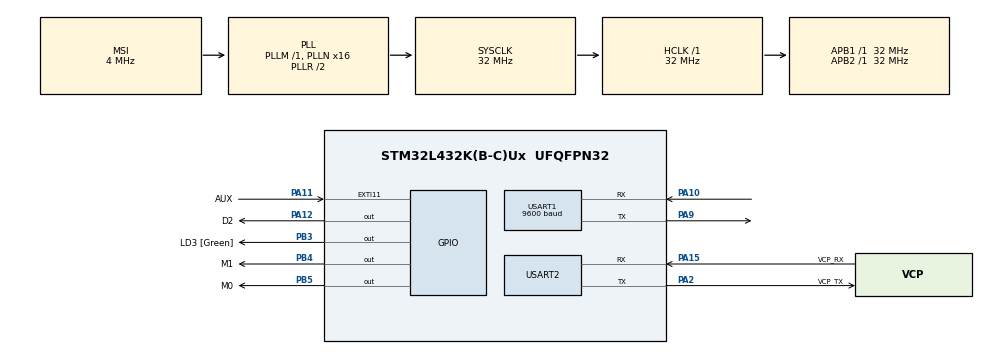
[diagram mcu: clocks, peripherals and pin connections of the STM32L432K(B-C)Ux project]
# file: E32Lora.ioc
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Mcu.Family=STM32L4
Mcu.Name=STM32L432K(B-C)Ux
Mcu.Package=UFQFPN32
NVIC.EXTI15_10_IRQn=true\:0\:0\:false\:false\:true\:true
NVIC.PriorityGroup=NVIC_PRIORITYGROUP_4
PA0.GPIO_Label=MCO [High speed clock in]
PA0.Mode=HSE-External-Clock-Source-for-LittleOrca
PA0.Signal=RCC_CK_IN
PA10.Mode=Asynchronous
PA10.Signal=USART1_RX
PA11.GPIO_Label=AUX
PA11.GPIO_ModeDefaultEXTI=GPIO_MODE_IT_FALLING
PA11.Signal=GPXTI11
PA12.GPIO_Label=D2
PA12.Signal=GPIO_Output
PA13\ (JTMS-SWDIO).GPIO_Label=SWDIO
PA13\ (JTMS-SWDIO).Mode=Serial_Wire
PA13\ (JTMS-SWDIO).Signal=SYS_JTMS-SWDIO
PA14\ (JTCK-SWCLK).GPIO_Label=SWCLK
PA14\ (JTCK-SWCLK).Mode=Serial_Wire
PA14\ (JTCK-SWCLK).Signal=SYS_JTCK-SWCLK
PA15\ (JTDI).GPIO_Label=VCP_RX
PA15\ (JTDI).Mode=Asynchronous
PA15\ (JTDI).Signal=USART2_RX
PA2.GPIO_Label=VCP_TX
PA2.Mode=Asynchronous
PA2.Signal=USART2_TX
PA9.Mode=Asynchronous
PA9.Signal=USART1_TX
PB3\ (JTDO-TRACESWO).GPIO_Label=LD3 [Green]
PB3\ (JTDO-TRACESWO).Signal=GPIO_Output
PB4\ (NJTRST).GPIO_Label=M1
PB4\ (NJTRST).Signal=GPIO_Output
PB5.GPIO_Label=M0
PB5.Signal=GPIO_Output
PC14-OSC32_IN\ (PC14).Mode=LSE-External-Oscillator
PC14-OSC32_IN\ (PC14).Signal=RCC_OSC32_IN
PC15-OSC32_OUT\ (PC15).Mode=LSE-External-Oscillator
PC15-OSC32_OUT\ (PC15).Signal=RCC_OSC32_OUT
ProjectManager.HeapSize=0x200
ProjectManager.StackSize=0x400
ProjectManager.TargetToolchain=Makefile
RCC.AHBFreq_Value=32000000
RCC.APB1Freq_Value=32000000
RCC.APB1TimFreq_Value=32000000
RCC.APB2Freq_Value=32000000
RCC.APB2TimFreq_Value=32000000
RCC.CortexFreq_Value=32000000
RCC.HCLKFreq_Value=32000000
RCC.HSE_VALUE=8000000
RCC.HSI16_VALUE=16000000
RCC.HSI48_VALUE=48000000
RCC.HSI_VALUE=16000000
RCC.MSI_VALUE=4000000
RCC.PLLMUL=RCC_PLLMUL_4
RCC.PLLN=16
RCC.SYSCLKFreq_VALUE=32000000
RCC.SYSCLKSource=RCC_SYSCLKSOURCE_PLLCLK
RCC.VCOOutputFreq_Value=64000000
USART1.BaudRate=9600
USART1.VirtualMode-Asynchronous=VM_ASYNC
USART2.VirtualMode-Asynchronous=VM_ASYNC
board=NUCLEO-L432KC

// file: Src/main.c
/* USER CODE BEGIN Header */
/**
  ******************************************************************************
  * @file           : main.c
  * @brief          : Main program body
  ******************************************************************************
  ** This notice applies to any and all portions of this file
  * that are not between comment pairs USER CODE BEGIN and
  * USER CODE END. Other portions of this file, whether
  * inserted by the user or by software development tools
  * are owned by their respective copyright owners.
  *
  * COPYRIGHT(c) 2018 STMicroelectronics
  *
  * Redistribution and use in source and binary forms, with or without modification,
  * are permitted provided that the following conditions are met:
  *   1. Redistributions of source code must retain the above copyright notice,
  *      this list of conditions and the following disclaimer.
  *   2. Redistributions in binary form must reproduce the above copyright notice,
  *      this list of conditions and the following disclaimer in the documentation
  *      and/or other materials provided with the distribution.
  *   3. Neither the name of STMicroelectronics nor the names of its contributors
  *      may be used to endorse or promote products derived from this software
  *      without specific prior written permission.
  *
  * THIS SOFTWARE IS PROVIDED BY THE COPYRIGHT HOLDERS AND CONTRIBUTORS "AS IS"
  * AND ANY EXPRESS OR IMPLIED WARRANTIES, INCLUDING, BUT NOT LIMITED TO, THE
  * IMPLIED WARRANTIES OF MERCHANTABILITY AND FITNESS FOR A PARTICULAR PURPOSE ARE
  * DISCLAIMED. IN NO EVENT SHALL THE COPYRIGHT HOLDER OR CONTRIBUTORS BE LIABLE
  * FOR ANY DIRECT, INDIRECT, INCIDENTAL, SPECIAL, EXEMPLARY, OR CONSEQUENTIAL
  * DAMAGES (INCLUDING, BUT NOT LIMITED TO, PROCUREMENT OF SUBSTITUTE GOODS OR
  * SERVICES; LOSS OF USE, DATA, OR PROFITS; OR BUSINESS INTERRUPTION) HOWEVER
  * CAUSED AND ON ANY THEORY OF LIABILITY, WHETHER IN CONTRACT, STRICT LIABILITY,
  * OR TORT (INCLUDING NEGLIGENCE OR OTHERWISE) ARISING IN ANY WAY OUT OF THE USE
  * OF THIS SOFTWARE, EVEN IF ADVISED OF THE POSSIBILITY OF SUCH DAMAGE.
  *
  ******************************************************************************
  */
/* USER CODE END Header */

#include "main.h"

/* USER CODE BEGIN Includes */
#include "retarget.h"
#include "E32Lora.h"
#include <stdio.h>
/* USER CODE END Includes */

UART_HandleTypeDef huart1;
UART_HandleTypeDef huart2;

void SystemClock_Config(void);
static void MX_GPIO_Init(void);
static void MX_USART2_UART_Init(void);
static void MX_USART1_UART_Init(void);

int main(void)
{

  /* MCU Configuration--------------------------------------------------------*/

  /* Reset of all peripherals, Initializes the Flash interface and the Systick. */
  HAL_Init();

  /* Configure the system clock */
  SystemClock_Config();

  /* Initialize all configured peripherals */
  MX_GPIO_Init();
  MX_USART2_UART_Init();
  MX_USART1_UART_Init();
  /* USER CODE BEGIN 2 */
  RetargetInit(&huart2);
  printf("\r\nHere we go\r\n");
  E32_Init(M0_GPIO_Port, M0_Pin, M1_GPIO_Port, M1_Pin, AUX_GPIO_Port, AUX_Pin, &huart1);
//  E32_SetMode(CONFIG_MODE);
//	E32_SetUartBaud(Baud_9600);
//	E32_SetAddress(0x02);
//	E32_SetChannel(0x0f);
//	E32_SetTransmissionMode(TxMode_Fixed);
//	E32_SaveParams();
//	E32_SetMode(NORMAL_MODE);
//	E32_Reset();

//	E32_SetAirRate(AirRate_2400);
	E32_SetTargetAddress(0x00);
	E32_SetTargetChannel(0xf);
	uint8_t config[]={0xc0,0x00,0x02,0x1a,0x0f,0xc4};
	E32_SetConfig(config);
	uint8_t recv[6];
	E32_STATUS status=E32_GetConfig(recv);
	printf("%x - %x %x %x %x %x %x\r\n",status,recv[0],recv[1],recv[2],recv[3],recv[4],recv[5]);
  uint32_t curTime = HAL_GetTick();
  uint8_t state=0;
  /* USER CODE END 2 */

  /* Infinite loop */
  while (1)
  {

    /* USER CODE BEGIN 3 */
//	  HAL_GPIO_TogglePin(D2_GPIO_Port, D2_Pin);
//	  uint8_t mes[257];
//	  if(HAL_GetTick() > curTime + 5000) {
//		  if(state==0) {
//			  state=1;
//			  E32_SetMode(NORMAL_MODE);
//			  printf("Wake\r\n");
//		  }
//		  else {
//			  state = 0;
//			  uint8_t recv[6];

//			  E32_STATUS status=E32_GetConfig(recv);
//		      printf("%x - %x %x %x %x %x %x\r\n",status,recv[0],recv[1],recv[2],recv[3],recv[4],recv[5]);
//		      E32_SetMode(CONFIG_MODE);
//				E32_SetUartBaud(Baud_9600);
//				E32_SetAddress(0x02);
//				E32_SetChannel(0x0f);
//				E32_SetTransmissionMode(TxMode_Fixed);
//				E32_SetParams();
				//E32_SetMode(NORMAL_MODE);
//			  printf("Sleeping\r\n");
//		  }
//		  curTime=HAL_GetTick();
//	  }

//	  printf("Mode %d\r\n",E32_GetMode());

//	  HAL_Delay(200);

//	  HAL_GPIO_TogglePin(D2_GPIO_Port, D2_Pin);
//	  for (uint16_t n=0;n<256;n++)
//		  mes[n]=n;

//	  E32_STATUS status = E32_Transmit(mes,3);
//	  printf("Status -> %d\r\n",status);
//		uint8_t recv[6];
//		E32_STATUS status=E32_GetConfig(recv);
//		printf("%x - %x %x %x %x %x %x\r\n",status,recv[0],recv[1],recv[2],recv[3],recv[4],recv[5]);
		 //status = E32_Reset();
		 //printf("Reset %x\r\n",status);
//	  printf("Checking Data\r\n");
//	  if(E32_DataAvailable())
//	  {
//		  uint8_t mes[10];
//		  printf("Receiving Data\r\n");
//		  uint16_t length=E32_ReceiveData(mes,1);
//		  printf("length %d\r\n",length);
//	  }
//	  printf("Delaying\r\n");
	  uint8_t buffer[1];
	  buffer[0]=0x55;
	  E32_STATUS status = E32_Transmit(buffer,1);
	  printf("Status %x\n",status);
	  HAL_Delay(2000);
  }
  /* USER CODE END 3 */
}

void SystemClock_Config(void)
{
  RCC_OscInitTypeDef RCC_OscInitStruct = {0};
  RCC_ClkInitTypeDef RCC_ClkInitStruct = {0};
  RCC_PeriphCLKInitTypeDef PeriphClkInit = {0};

  /**Configure LSE Drive Capability
  */
  HAL_PWR_EnableBkUpAccess();
  __HAL_RCC_LSEDRIVE_CONFIG(RCC_LSEDRIVE_LOW);
  /**Initializes the CPU, AHB and APB busses clocks
  */
  RCC_OscInitStruct.OscillatorType = RCC_OSCILLATORTYPE_LSE|RCC_OSCILLATORTYPE_MSI;
  RCC_OscInitStruct.LSEState = RCC_LSE_ON;
  RCC_OscInitStruct.MSIState = RCC_MSI_ON;
  RCC_OscInitStruct.MSICalibrationValue = 0;
  RCC_OscInitStruct.MSIClockRange = RCC_MSIRANGE_6;
  RCC_OscInitStruct.PLL.PLLState = RCC_PLL_ON;
  RCC_OscInitStruct.PLL.PLLSource = RCC_PLLSOURCE_MSI;
  RCC_OscInitStruct.PLL.PLLM = 1;
  RCC_OscInitStruct.PLL.PLLN = 16;
  RCC_OscInitStruct.PLL.PLLP = RCC_PLLP_DIV7;
  RCC_OscInitStruct.PLL.PLLQ = RCC_PLLQ_DIV2;
  RCC_OscInitStruct.PLL.PLLR = RCC_PLLR_DIV2;
  if (HAL_RCC_OscConfig(&RCC_OscInitStruct) != HAL_OK)
  {
    Error_Handler();
  }
  /**Initializes the CPU, AHB and APB busses clocks
  */
  RCC_ClkInitStruct.ClockType = RCC_CLOCKTYPE_HCLK|RCC_CLOCKTYPE_SYSCLK
                              |RCC_CLOCKTYPE_PCLK1|RCC_CLOCKTYPE_PCLK2;
  RCC_ClkInitStruct.SYSCLKSource = RCC_SYSCLKSOURCE_PLLCLK;
  RCC_ClkInitStruct.AHBCLKDivider = RCC_SYSCLK_DIV1;
  RCC_ClkInitStruct.APB1CLKDivider = RCC_HCLK_DIV1;
  RCC_ClkInitStruct.APB2CLKDivider = RCC_HCLK_DIV1;

  if (HAL_RCC_ClockConfig(&RCC_ClkInitStruct, FLASH_LATENCY_1) != HAL_OK)
  {
    Error_Handler();
  }
  PeriphClkInit.PeriphClockSelection = RCC_PERIPHCLK_USART1|RCC_PERIPHCLK_USART2;
  PeriphClkInit.Usart1ClockSelection = RCC_USART1CLKSOURCE_PCLK2;
  PeriphClkInit.Usart2ClockSelection = RCC_USART2CLKSOURCE_PCLK1;
  if (HAL_RCCEx_PeriphCLKConfig(&PeriphClkInit) != HAL_OK)
  {
    Error_Handler();
  }
  /**Configure the main internal regulator output voltage
  */
  if (HAL_PWREx_ControlVoltageScaling(PWR_REGULATOR_VOLTAGE_SCALE1) != HAL_OK)
  {
    Error_Handler();
  }
  /**Enable MSI Auto calibration
  */
  HAL_RCCEx_EnableMSIPLLMode();
}

static void MX_USART1_UART_Init(void)
{

  huart1.Instance = USART1;
  huart1.Init.BaudRate = 9600;
  huart1.Init.WordLength = UART_WORDLENGTH_8B;
  huart1.Init.StopBits = UART_STOPBITS_1;
  huart1.Init.Parity = UART_PARITY_NONE;
  huart1.Init.Mode = UART_MODE_TX_RX;
  huart1.Init.HwFlowCtl = UART_HWCONTROL_NONE;
  huart1.Init.OverSampling = UART_OVERSAMPLING_16;
  huart1.Init.OneBitSampling = UART_ONE_BIT_SAMPLE_DISABLE;
  huart1.AdvancedInit.AdvFeatureInit = UART_ADVFEATURE_NO_INIT;
  if (HAL_UART_Init(&huart1) != HAL_OK)
  {
    Error_Handler();
  }

}

static void MX_USART2_UART_Init(void)
{

  huart2.Instance = USART2;
  huart2.Init.BaudRate = 115200;
  huart2.Init.WordLength = UART_WORDLENGTH_8B;
  huart2.Init.StopBits = UART_STOPBITS_1;
  huart2.Init.Parity = UART_PARITY_NONE;
  huart2.Init.Mode = UART_MODE_TX_RX;
  huart2.Init.HwFlowCtl = UART_HWCONTROL_NONE;
  huart2.Init.OverSampling = UART_OVERSAMPLING_16;
  huart2.Init.OneBitSampling = UART_ONE_BIT_SAMPLE_DISABLE;
  huart2.AdvancedInit.AdvFeatureInit = UART_ADVFEATURE_NO_INIT;
  if (HAL_UART_Init(&huart2) != HAL_OK)
  {
    Error_Handler();
  }

}

static void MX_GPIO_Init(void)
{
  GPIO_InitTypeDef GPIO_InitStruct = {0};

  /* GPIO Ports Clock Enable */
  __HAL_RCC_GPIOC_CLK_ENABLE();
  __HAL_RCC_GPIOA_CLK_ENABLE();
  __HAL_RCC_GPIOB_CLK_ENABLE();

  /*Configure GPIO pin Output Level */
  HAL_GPIO_WritePin(D2_GPIO_Port, D2_Pin, GPIO_PIN_RESET);

  /*Configure GPIO pin Output Level */
  HAL_GPIO_WritePin(GPIOB, LD3_Pin|M1_Pin|M0_Pin, GPIO_PIN_RESET);

  /*Configure GPIO pin : AUX_Pin */
  GPIO_InitStruct.Pin = AUX_Pin;
  GPIO_InitStruct.Mode = GPIO_MODE_IT_FALLING;
  GPIO_InitStruct.Pull = GPIO_NOPULL;
  HAL_GPIO_Init(AUX_GPIO_Port, &GPIO_InitStruct);

  /*Configure GPIO pin : D2_Pin */
  GPIO_InitStruct.Pin = D2_Pin;
  GPIO_InitStruct.Mode = GPIO_MODE_OUTPUT_PP;
  GPIO_InitStruct.Pull = GPIO_NOPULL;
  GPIO_InitStruct.Speed = GPIO_SPEED_FREQ_LOW;
  HAL_GPIO_Init(D2_GPIO_Port, &GPIO_InitStruct);

  /*Configure GPIO pins : LD3_Pin M1_Pin M0_Pin */
  GPIO_InitStruct.Pin = LD3_Pin|M1_Pin|M0_Pin;
  GPIO_InitStruct.Mode = GPIO_MODE_OUTPUT_PP;
  GPIO_InitStruct.Pull = GPIO_NOPULL;
  GPIO_InitStruct.Speed = GPIO_SPEED_FREQ_LOW;
  HAL_GPIO_Init(GPIOB, &GPIO_InitStruct);

  /* EXTI interrupt init*/
  HAL_NVIC_SetPriority(EXTI15_10_IRQn, 0, 0);
  HAL_NVIC_EnableIRQ(EXTI15_10_IRQn);

}

void Error_Handler(void)
{
}

/************************ (C) COPYRIGHT STMicroelectronics *****END OF FILE****/
